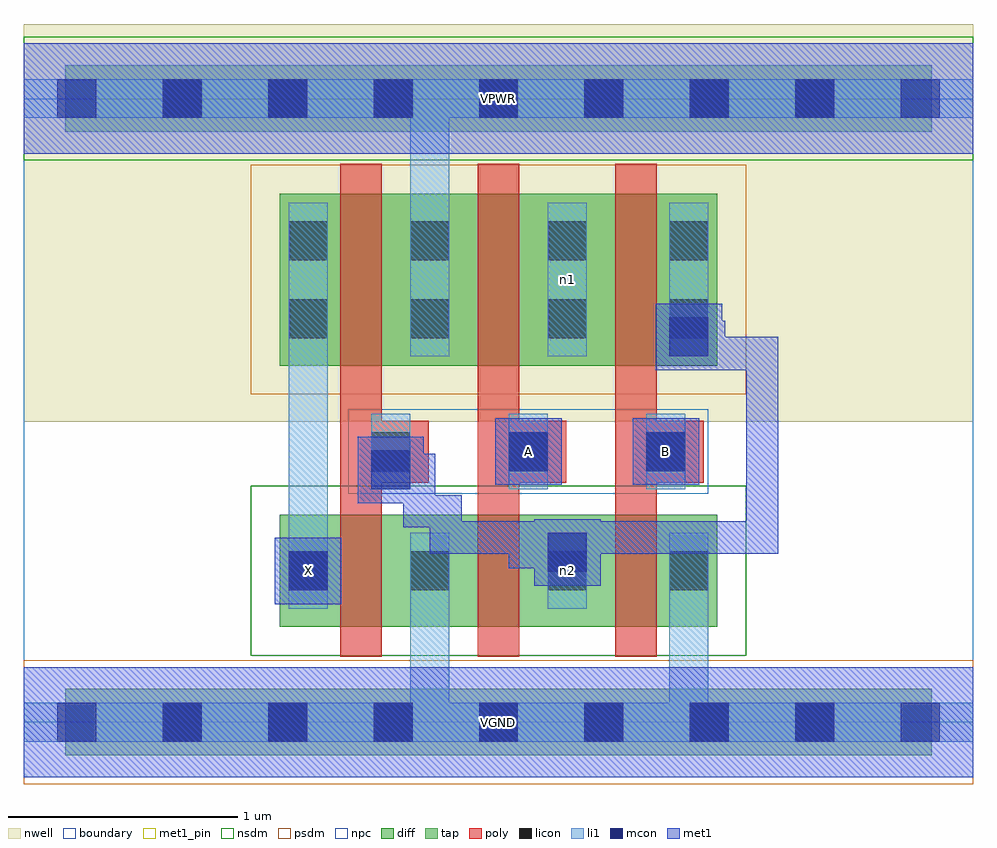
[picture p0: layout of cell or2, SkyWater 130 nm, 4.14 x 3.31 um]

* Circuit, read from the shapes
.subckt or2 A B VGND VPWR X n1 n2
XM1 VGND n2 X VGND sky130_fd_pr__nfet_01v8 w=0.49 l=0.18
XM2 n2 A VGND VGND sky130_fd_pr__nfet_01v8 w=0.49 l=0.18
XM3 VGND B n2 VGND sky130_fd_pr__nfet_01v8 w=0.49 l=0.18
XM4 VPWR n2 X VPWR sky130_fd_pr__pfet_01v8 w=0.75 l=0.18
XM5 n1 A VPWR VPWR sky130_fd_pr__pfet_01v8 w=0.75 l=0.18
XM6 n2 B n1 VPWR sky130_fd_pr__pfet_01v8 w=0.75 l=0.18
.ends

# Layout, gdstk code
import gdstk
lib = gdstk.Library(unit=1e-6, precision=1e-09)
def R(c, l, rs):  # rectangles x0, y0, x1, y1
    for r in rs: c.add(gdstk.rectangle(r[:2], r[2:], *l))
def A(c, l, x, y, w, h, nx, ny, dx, dy):  # array of equal rectangles
    R(c, l, [(x+i*dx, y+j*dy, x+i*dx+w, y+j*dy+h) for i in range(nx) for j in range(ny)])
nwell = (64, 20)
diff = (65, 20)
tap = (65, 44)
poly = (66, 20)
licon = (66, 44)
li1 = (67, 20)
mcon = (67, 44)
met1_pin = (68, 16)
met1 = (68, 20)
nsdm = (93, 44)
psdm = (94, 20)
npc = (95, 20)
boundary = (235, 4)

or2 = lib.new_cell('or2')
R(or2, nwell, [(0,1.31,4.14,3.045)])
R(or2, diff, [(1.115,0.415,3.025,0.905), (1.115,1.555,3.025,2.305)])
R(or2, tap, [(0.18,-0.145,3.96,0.145), (0.18,2.575,3.96,2.865)])
A(or2, poly, 1.38, 0.285, 0.18, 2.15, 3, 1, 0.6, 0)
A(or2, poly, 1.435, 1.045, 0.33, 0.27, 3, 1, 0.6, 0)
A(or2, licon, 0.605, -0.085, 0.17, 0.17, 7, 2, 0.46, 2.72)
A(or2, licon, 1.515, 1.095, 0.17, 0.17, 3, 1, 0.6, 0)
R(or2, licon, [(1.155,0.575,1.325,0.745), (1.685,0.575,1.855,0.745), (2.285,0.575,2.455,0.745), (2.815,0.575,2.985,0.745), (1.155,1.675,1.325,1.845), (1.685,1.675,1.855,1.845), (2.285,1.675,2.455,1.845), (2.815,1.675,2.985,1.845), (1.155,2.015,1.325,2.185), (1.685,2.015,1.855,2.185), (2.285,2.015,2.455,2.185), (2.815,2.015,2.985,2.185)])
A(or2, li1, 1.515, 1.015, 0.17, 0.33, 3, 1, 0.6, 0)
R(or2, li1, [(0,-0.085,4.14,0.085), (1.685,-0.085,1.855,0.825), (2.815,-0.085,2.985,0.825), (1.155,0.495,1.325,0.825), (1.155,0.495,1.325,2.265), (1.685,0.495,1.855,0.825), (2.285,0.495,2.455,0.825), (2.815,0.495,2.985,0.825), (1.155,1.595,1.325,2.265), (1.685,1.595,1.855,2.265), (1.685,1.595,1.855,2.805), (2.285,1.595,2.455,2.265), (2.815,1.595,2.985,2.265), (0,2.635,4.14,2.805)])
A(or2, mcon, 0.145, -0.085, 0.17, 0.17, 9, 2, 0.46, 2.72)
R(or2, mcon, [(1.155,0.575,1.325,0.745), (2.285,0.655,2.455,0.825), (1.515,1.015,1.685,1.185), (2.115,1.095,2.285,1.265), (2.715,1.095,2.885,1.265), (2.815,1.595,2.985,1.765)])
R(or2, met1_pin, [(0,-0.24,4.14,0.24), (1.095,0.515,1.385,0.805), (2.055,1.035,2.345,1.325), (2.655,1.035,2.945,1.325), (0,2.48,4.14,2.96)])
R(or2, met1, [(0,-0.24,4.14,0.24), (1.095,0.515,1.385,0.805), (2.225,0.595,2.515,0.885), (2.115,0.67,2.44,0.81), (2.115,0.67,2.255,0.875), (1.77,0.735,1.91,0.99), (1.77,0.735,2.255,0.875), (2.115,0.735,3.29,0.875), (3.15,0.735,3.29,1.68), (1.655,0.85,1.795,1.17), (1.655,0.85,1.91,0.99), (1.455,0.955,1.745,1.245), (1.53,1.03,1.795,1.17), (2.055,1.035,2.345,1.325), (2.655,1.035,2.945,1.325), (2.755,1.535,3.045,1.825), (3.045,1.535,3.15,1.68), (2.92,1.54,3.06,1.75), (2.92,1.54,3.29,1.68), (2.83,1.61,3.06,1.75), (0,2.48,4.14,2.96)])
R(or2, nsdm, [(0.99,0.29,3.15,1.03), (0,2.45,4.14,2.99)])
R(or2, psdm, [(0,-0.27,4.14,0.27), (0.99,1.43,3.15,2.43)])
R(or2, npc, [(1.415,0.995,2.985,1.365)])
R(or2, boundary, [(0,0,4.14,2.72)])
or2.add(gdstk.Label('n2', (2.37,0.66), layer=67, texttype=5))
or2.add(gdstk.Label('n1', (2.37,1.93), layer=67, texttype=5))
or2.add(gdstk.Label('A', (2.2,1.18), layer=68, texttype=5))
or2.add(gdstk.Label('B', (2.8,1.18), layer=68, texttype=5))
or2.add(gdstk.Label('X', (1.24,0.66), layer=68, texttype=5))
or2.add(gdstk.Label('VPWR', (2.07,2.72), layer=68, texttype=5))
or2.add(gdstk.Label('VGND', (2.07,0), layer=68, texttype=5))
or2.add(gdstk.Label('A', (2.2,1.18), layer=68, texttype=16))
or2.add(gdstk.Label('B', (2.8,1.18), layer=68, texttype=16))
or2.add(gdstk.Label('X', (1.24,0.66), layer=68, texttype=16))
or2.add(gdstk.Label('VPWR', (2.07,2.72), layer=68, texttype=16))
or2.add(gdstk.Label('VGND', (2.07,0), layer=68, texttype=16))

lib.write_gds('or2.gds')
